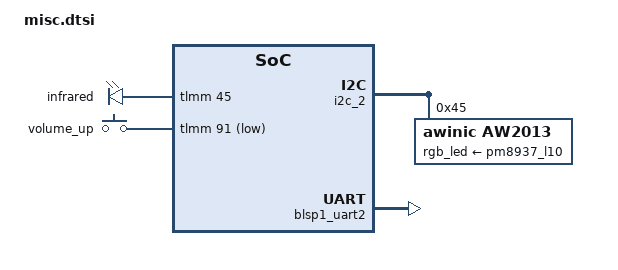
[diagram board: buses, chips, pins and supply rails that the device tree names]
&i2c_2  {
	aw2013@45 {
		compatible = "awinic,aw2013";
		reg = <0x45>;
		rgb_led-supply = <&pm8937_l10>;

		red {
			label = "red";
			linux,default-trigger = "battery-red";
			default-state = "off";
			retain-state-suspended;
		};

		green {
			label = "green";
			linux,default-trigger = "battery-green";
			default-state = "off";
			retain-state-suspended;
		};

		blue {
			label = "blue";
			linux,default-trigger = "battery-blue";
			default-state = "off";
			retain-state-suspended;
		};

		white {
			label = "white";
			linux,default-trigger = "none";
			default-state = "off";
			retain-state-suspended;
		};

		yellow {
			label = "yellow";
			linux,default-trigger = "none";
			default-state = "off";
			retain-state-suspended;
		};

		cyan {
			label = "cyan";
			linux,default-trigger = "none";
			default-state = "off";
			retain-state-suspended;
		};

		purple {
			label = "purple";
			linux,default-trigger = "none";
			default-state = "off";
			retain-state-suspended;
		};
	};
};

&soc {
	gpio-leds {
		compatible = "gpio-leds";
		status = "okay";
		pinctrl-names = "default";
		pinctrl-0 = <&gpio_led_off>;

		infred {
			gpios = <&tlmm 45 0>;
			label = "infrared";
			linux,default-trigger = "infra-red";
			default-state = "off";
			retain-state-suspended;
		};
	};
};

&soc {
	gpio_keys {
		compatible = "gpio-keys";
		label = "gpio-keys";
		pinctrl-names = "default";
		pinctrl-0 = <&gpio_key_active>;

		vol_up {
			label = "volume_up";
			gpios = <&tlmm 91 0x1>;
			linux,input-type = <1>;
			linux,code = <115>;
			debounce-interval = <15>;
			linux,can-disable;
			gpio-key,wakeup;
		};
	};
};

&wled {
	qcom,cons-sync-write-delay-us = <1000>;
};

&blsp1_uart2 {
	status = "ok";
	pinctrl-names = "default";
	pinctrl-0 = <&uart_console_active>;
};

&usb_otg {
	extcon = <&qpnp_smbcharger>;
};

&qpnp_smbcharger {
	dpdm-supply = <&usb_otg>;
};
